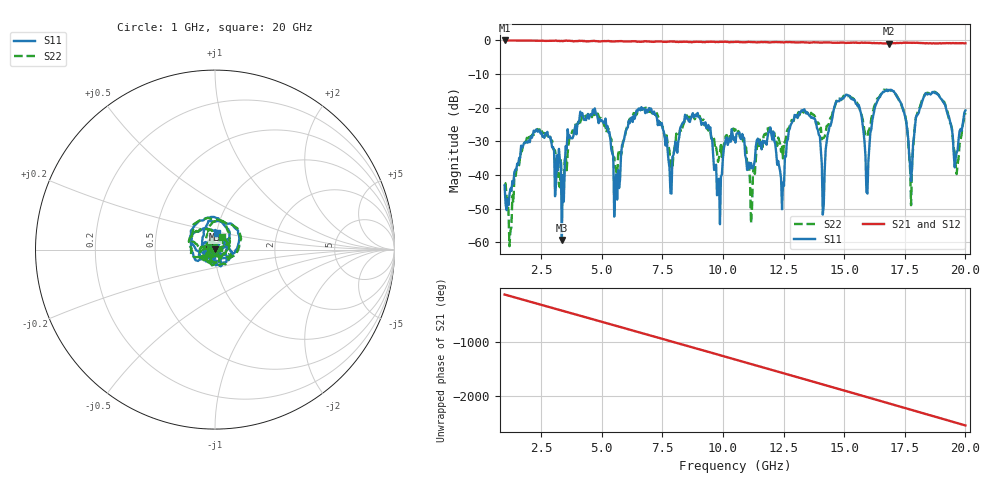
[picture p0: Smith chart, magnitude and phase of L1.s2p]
!Agilent Technologies,E8361C,US49010278,A.09.20.08
!Agilent E8361C: A.09.20.08
!Date: Tuesday, December 15, 2015 15:50:35
!Correction: S11(Full 2 Port(1,2))
!S21(Full 2 Port(1,2))
!S12(Full 2 Port(1,2))
!S22(Full 2 Port(1,2))
!S2P File: Measurements: S11, S21, S12, S22:
# Hz S  RI  R 50
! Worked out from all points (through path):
!   476 points, 1 GHz to 20 GHz, reference 50 ohm
!   highest |S21| = -0.08 dB at 1 GHz (marker M1); lowest = -1.0 dB at 16.84 GHz (marker M2)
!   group delay of S21, straight-line fit = 353 ps
!   lowest |S11| = -59.3 dB at 3.36 GHz (marker M3), VSWR 1.00, Z = 50.1 + j0.0929 ohm
!   |S11| at or under -10 dB: start of sweep to end of sweep
!   |S22| runs from -61.1 to -14.7 dB; largest |S21 - S12| = 0.014
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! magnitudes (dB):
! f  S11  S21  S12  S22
! 1 GHz  -43.1  -0.1  -0.1  -42.4
! 1.24 GHz  -44.0  -0.1  -0.1  -56.6
! 2.36 GHz  -27.2  -0.2  -0.1  -26.4
! 3.36 GHz  -59.3  -0.2  -0.3  -43.0
! 4.2 GHz  -21.6  -0.2  -0.2  -22.6
! 5.6 GHz  -39.9  -0.3  -0.3  -38.3
! 6.16 GHz  -24.6  -0.4  -0.4  -23.3
! 7.36 GHz  -23.9  -0.4  -0.4  -23.0
! 7.84 GHz  -45.4  -0.4  -0.4  -37.8
! 9.4 GHz  -25.2  -0.5  -0.5  -26.8
! 9.84 GHz  -41.1  -0.5  -0.5  -34.8
! 10.52 GHz  -30.4  -0.5  -0.5  -26.5
! 11.2 GHz  -38.0  -0.5  -0.5  -49.9
! 13.68 GHz  -22.9  -0.7  -0.7  -21.9
! 14.16 GHz  -48.7  -0.7  -0.7  -29.0
! 15.36 GHz  -17.4  -0.7  -0.8  -17.2
! 15.96 GHz  -45.5  -0.8  -0.7  -28.6
! 16.84 GHz  -14.8  -1.0  -0.9  -14.9
! 17.76 GHz  -41.8  -0.8  -0.8  -49.0
! 18.36 GHz  -15.7  -0.9  -0.9  -15.9
! 19.64 GHz  -33.4  -0.9  -0.9  -39.7
! 20 GHz  -20.8  -0.9  -0.9  -21.6
